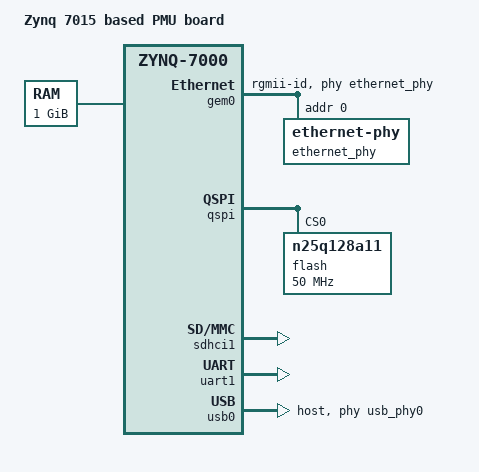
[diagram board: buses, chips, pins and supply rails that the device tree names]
/dts-v1/;
#include "zynq-7000.dtsi"

/ {
        model = "Zynq 7015 based PMU board";
        compatible = "xlnx,zynq-7000";

        aliases {
                ethernet0 = &gem0;
                serial0 = &uart1;
                spi0 = &qspi;
                mmc0 = &sdhci1;
        };

        memory@0 {
                device_type = "memory";
                reg = <0x0 0x40000000>;
        };

        chosen {
                bootargs = "";
                stdout-path = "serial0:115200n8";
        };

        usb_phy0: phy0@e0002000 {
                compatible = "ulpi-phy";
                #phy-cells = <0>;
                reg = <0xe0002000 0x1000>;
                view-port = <0x0170>;
                drv-vbus;
        };
};

&gem0 {
        status = "okay";
        phy-mode = "rgmii-id";
        phy-handle = <&ethernet_phy>;

        ethernet_phy: ethernet-phy@0 {
                reg = <0>;
                device_type = "ethernet-phy";
        };
};

&qspi {
        u-boot,dm-pre-reloc;
        status = "okay";
        is-dual = <0>;
        num-cs = <1>;
        flash@0 { /* 32 MB */
                compatible = "n25q128a11";
                reg = <0x0>;
                spi-tx-bus-width = <4>;
                spi-rx-bus-width = <4>;
                spi-max-frequency = <50000000>;
        };
};

&sdhci1 {
        u-boot,dm-pre-reloc;
        status = "okay";
};

&uart1 {
        u-boot,dm-pre-reloc;
        status = "okay";
};

&usb0 {
        status = "okay";
        dr_mode = "host";
        usb-phy = <&usb_phy0>;
};

&clkc {
        fclk-enable = <0x3>;
        ps-clk-frequency = <33333333>;
};
